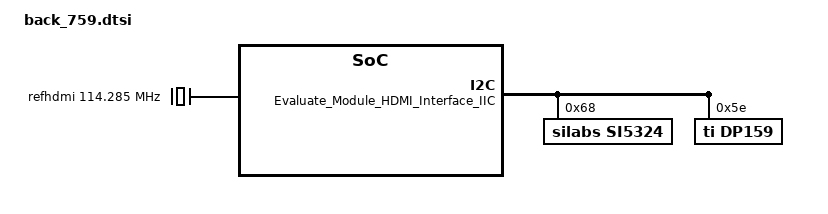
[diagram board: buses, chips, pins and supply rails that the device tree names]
/include/ "system-conf.dtsi"
/ {
	bootargs = "earlycon clk_ignore_unused uio_pdrv_genirq.of_id=generic-uio earlyprintk root=/dev/mmcblk0p2 rw rootwait cma=1024M rootfstype=ext4 devtmpfs.mount=0";
};

&sdhci1 {
	no-1-8-v;
	disable-wp;
};

&amba_pl {
	/* 114.285MHz reference crystal (X9 on ZCU102) for Si5324 clock for HDMI */
	refhdmi: refhdmi {
		compatible = "fixed-clock";
		#clock-cells = <0>;
		clock-frequency = <114285000>;
	};
};

/* IIC controller with Si5324 clock generator and DP159 retimer for HDMI TX */
&Evaluate_Module_HDMI_Interface_IIC {
	status = "okay";
	
	/* Si5324 i2c clock generator */
	si5324: clock-generator@68 {
		status = "okay";
		compatible = "silabs,si5324";
		reg = <0x68>;
		 #address-cells = <1>;
		 #size-cells = <0>;
		 #clock-cells = <1>;
		
		/* input clock(s); the XTAL is hard-wired on the ZCU102 board */
		clocks = <&refhdmi>;
		clock-names = "xtal";
		
		/* output clocks */
		clk0 {
			reg = <0>;
			/* HDMI TX reference clock output frequency */
			clock-frequency = <27000000>;
		};
	};

	/* DP159 exposes a virtual CCF clock. Upon .set_rate(), it adapts its retiming/driving behaviour */
	dp159: hdmi-retimer@5e {
		status = "okay";
		compatible = "ti,dp159";
		reg = <0x5e>;
		#address-cells = <1>;
		#size-cells = <0>;
		#clock-cells = <0>;
	};
};


&Evaluate_Module_HDMI_Interface_VID_PHY_CTRL {
	clock-names = "mgtrefclk0_pad_p_in", "mgtrefclk0_pad_n_in", "mgtrefclk1_pad_p_in", "mgtrefclk1_pad_n_in", "gtsouthrefclk0_in", "gtsouthrefclk0_odiv2_in", "vid_phy_tx_axi4s_aclk", "vid_phy_rx_axi4s_aclk", "vid_phy_sb_aclk", "vid_phy_axi4lite_aclk", "drpclk", "dru-clk";
	clocks = <&misc_clk_0>, <&misc_clk_0>, <&misc_clk_0>, <&misc_clk_0>, <&misc_clk_0>, <&misc_clk_0>, <&misc_clk_1>, <&misc_clk_1>, <&misc_clk_0>, <&misc_clk_0>, <&misc_clk_0>, <&si570_2>;
};

&Evaluate_Module_HDMI_Interface_HDMI_RX_SS {
	clock-names = "s_axi_cpu_aclk", "link_clk", "s_axis_audio_aclk", "video_clk", "s_axis_video_aclk";
	clocks = <&misc_clk_0>, <&misc_clk_1>, <&misc_clk_2>, <&misc_clk_3>, <&misc_clk_2>;
};

&Evaluate_Module_HDMI_Interface_HDMI_TX_SS {
	clock-names = "s_axi_cpu_aclk", "link_clk", "s_axis_audio_aclk", "video_clk", "s_axis_video_aclk", "txref-clk", "retimer-clk";
	clocks = <&misc_clk_0>, <&misc_clk_1>, <&misc_clk_2>, <&misc_clk_3>, <&misc_clk_2>, <&misc_clk_4>, <&misc_clk_4>;
};

&Evaluate_Module_DMA_Interface_VDMA_MEM {
	Evaluate_Module_DMA_Interface_VDMA_MEMEvaluate_Module_HDMI_Interface_HDMI_RX_SS: endpoint {
		remote-endpoint = <&hdmirx_outEvaluate_Module_HDMI_Interface_HDMI_RX_SS>;
	};
};

&Evaluate_Module_USERSPACE_IO {
	compatible = "generic-uio";
};
